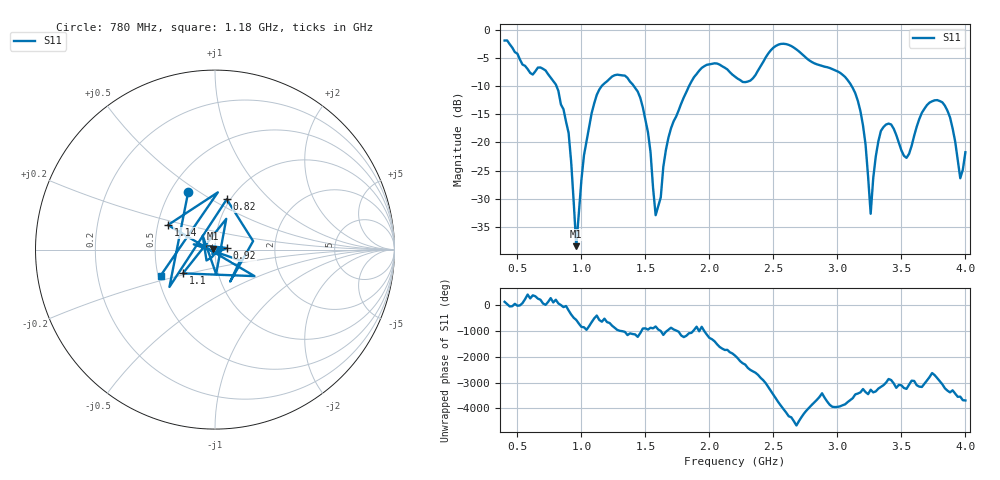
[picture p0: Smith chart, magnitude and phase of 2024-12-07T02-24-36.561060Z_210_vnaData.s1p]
!Created with skrf (http://scikit-rf.org).
# Hz S RI R 50.0
!freq ReS11 ImS11
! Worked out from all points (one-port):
!   181 points, 400 MHz to 4 GHz, reference 50 ohm
!   lowest |S11| = -38.4 dB at 960 MHz (marker M1), VSWR 1.02, Z = 48.9 + j0.504 ohm
!   |S11| at or under -10 dB: 805.6 MHz to 1.157 GHz (351.8 MHz wide, 35.8 % of centre); 1.41 GHz to 1.84 GHz (430 MHz wide, 26.5 % of centre); 3.112 GHz to end of sweep
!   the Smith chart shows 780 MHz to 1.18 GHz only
!   S11 on the Smith chart (normalised r, x): 780 MHz: 0.62, +0.45; 820 MHz: 0.96, +0.59; 920 MHz: 1.14, +0.02; 1.1 GHz: 0.68, -0.19; 1.14 GHz: 0.57, +0.17; 1.18 GHz: 0.52, -0.17
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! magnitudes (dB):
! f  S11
! 400 MHz  -1.9
! 780 MHz  -9.1
! 820 MHz  -10.8
! 860 MHz  -14.1
! 920 MHz  -23.5
! 960 MHz  -38.4
! 1.02 GHz  -22.3
! 1.1 GHz  -13.1
! 1.14 GHz  -10.6
! 1.18 GHz  -9.5
! 1.3 GHz  -8.0
! 1.48 GHz  -13.8
! 1.54 GHz  -21.7
! 1.58 GHz  -32.9
! 1.68 GHz  -19.1
! 1.76 GHz  -14.3
! 1.96 GHz  -6.4
! 2.2 GHz  -8.3
! 2.66 GHz  -3.1
! 3.1 GHz  -9.5
! 3.2 GHz  -17.0
! 3.26 GHz  -32.7
! 3.34 GHz  -17.9
! 3.56 GHz  -22.0
! 3.78 GHz  -12.5
! 3.88 GHz  -15.5
! 3.96 GHz  -26.4
! 4 GHz  -21.7
